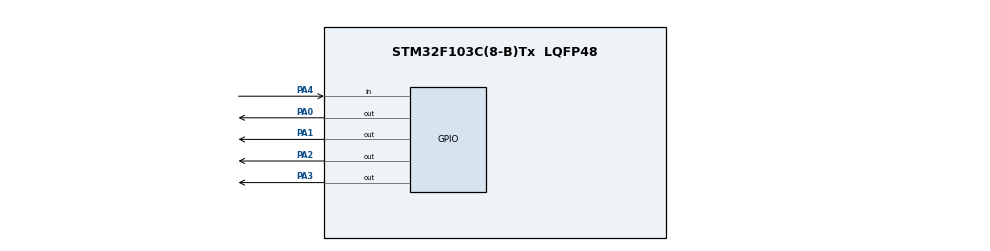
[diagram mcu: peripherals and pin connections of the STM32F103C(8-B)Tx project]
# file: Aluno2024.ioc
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Mcu.Family=STM32F1
Mcu.Name=STM32F103C(8-B)Tx
Mcu.Package=LQFP48
NVIC.PriorityGroup=NVIC_PRIORITYGROUP_4
PA0-WKUP.Signal=GPIO_Output
PA1.Signal=GPIO_Output
PA13.Mode=Serial_Wire
PA13.Signal=SYS_JTMS-SWDIO
PA14.Mode=Serial_Wire
PA14.Signal=SYS_JTCK-SWCLK
PA2.Signal=GPIO_Output
PA3.Signal=GPIO_Output
PA4.Signal=GPIO_Input
ProjectManager.HeapSize=0x200
ProjectManager.StackSize=0x400
ProjectManager.TargetToolchain=STM32CubeIDE
RCC.APB1Freq_Value=8000000
RCC.APB2Freq_Value=8000000
board=custom

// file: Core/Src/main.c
/* USER CODE BEGIN Header */
/**
  ******************************************************************************
  * @file           : main.c
  * @brief          : Main program body
  ******************************************************************************
  * @attention
  *
  * <h2><center>&copy; Copyright (c) 2024 STMicroelectronics.
  * All rights reserved.</center></h2>
  *
  * This software component is licensed by ST under BSD 3-Clause license,
  * the "License"; You may not use this file except in compliance with the
  * License. You may obtain a copy of the License at:
  *                        opensource.org/licenses/BSD-3-Clause
  *
  ******************************************************************************
  */
/* USER CODE END Header */
#include "main.h"

/* USER CODE BEGIN PD */
#define BUTTON_PIN GPIO_PIN_4
#define BUTTON_PORT GPIOA
#define LEDTODOS_ON  	HAL_GPIO_WritePin(GPIOA, GPIO_PIN_0+GPIO_PIN_1+GPIO_PIN_2+GPIO_PIN_3, 1)
#define LEDTODOS_OFF  	HAL_GPIO_WritePin(GPIOA, GPIO_PIN_0+GPIO_PIN_1+GPIO_PIN_2+GPIO_PIN_3, 0)
#define LEDPONTAS_ON 	HAL_GPIO_WritePin(GPIOA, GPIO_PIN_0 +GPIO_PIN_3, 1)
#define LEDPONTAS_OFF  	HAL_GPIO_WritePin(GPIOA, GPIO_PIN_0 +GPIO_PIN_3, 0)
#define LEDMEIO_ON  	HAL_GPIO_WritePin(GPIOA,GPIO_PIN_1 +GPIO_PIN_2, 1)
#define LEDMEIO_OFF 	HAL_GPIO_WritePin(GPIOA,GPIO_PIN_1 +GPIO_PIN_2, 0)
/* USER CODE END PD */

void SystemClock_Config(void);
static void MX_GPIO_Init(void);

int main(void)
{

  /* MCU Configuration--------------------------------------------------------*/

  /* Reset of all peripherals, Initializes the Flash interface and the Systick. */
  HAL_Init();

  /* Configure the system clock */
  SystemClock_Config();

  /* Initialize all configured peripherals */
  MX_GPIO_Init();

  /* Infinite loop */
  /* USER CODE BEGIN WHILE */
  while (1)
  {

	  	if(HAL_GPIO_ReadPin(BUTTON_PORT , BUTTON_PIN)){
	  		LEDTODOS_ON;
	  		HAL_Delay(1000);
	  		LEDTODOS_OFF;
	  		HAL_Delay(1000);
	  		for(uint16_t i=GPIO_PIN_0; i < GPIO_PIN_4; i = i << 1){
	  			LEDPONTAS_ON;
	  		    HAL_Delay(100);
	  		    LEDPONTAS_OFF;
	  		    LEDMEIO_ON;
	  		    HAL_Delay(100);
	  		    LEDMEIO_OFF;
	  		    HAL_GPIO_WritePin(GPIOA,i, 1);
	  		    HAL_Delay(100);
	  		    HAL_GPIO_WritePin(GPIOA,i , 0);
	  		    HAL_GPIO_WritePin(GPIOA,i, 1);
	  		    HAL_Delay(100);
	  		    HAL_GPIO_WritePin(GPIOA,i , 0);
	  		    HAL_GPIO_WritePin(GPIOA,i, 1);
	  		    HAL_Delay(100);
	  		    HAL_GPIO_WritePin(GPIOA,i , 0);
	  		    HAL_GPIO_WritePin(GPIOA,i, 1);
	  		}
	  		HAL_Delay(100);
	  		for(uint16_t i=GPIO_PIN_3; i < GPIO_PIN_0; i = i << 1){
	  			  		    HAL_GPIO_WritePin(GPIOA,i, 1);
	  			  		    HAL_Delay(100);
	  			  		    HAL_GPIO_WritePin(GPIOA,i , 0);
	  			  		    HAL_GPIO_WritePin(GPIOA,i, 1);
	  			  		    HAL_Delay(100);
	  			  		    HAL_GPIO_WritePin(GPIOA,i , 0);
	  			  		    HAL_GPIO_WritePin(GPIOA,i, 1);
	  			  		    HAL_Delay(100);
	  			  		    HAL_GPIO_WritePin(GPIOA,i , 0);
	  			  		    HAL_GPIO_WritePin(GPIOA,i, 1);

	  			  		}
	  	}

    /* USER CODE END WHILE */

  }
}

void SystemClock_Config(void)
{
  RCC_OscInitTypeDef RCC_OscInitStruct = {0};
  RCC_ClkInitTypeDef RCC_ClkInitStruct = {0};

  /** Initializes the RCC Oscillators according to the specified parameters
  * in the RCC_OscInitTypeDef structure.
  */
  RCC_OscInitStruct.OscillatorType = RCC_OSCILLATORTYPE_HSI;
  RCC_OscInitStruct.HSIState = RCC_HSI_ON;
  RCC_OscInitStruct.HSICalibrationValue = RCC_HSICALIBRATION_DEFAULT;
  RCC_OscInitStruct.PLL.PLLState = RCC_PLL_NONE;
  if (HAL_RCC_OscConfig(&RCC_OscInitStruct) != HAL_OK)
  {
    Error_Handler();
  }
  /** Initializes the CPU, AHB and APB buses clocks
  */
  RCC_ClkInitStruct.ClockType = RCC_CLOCKTYPE_HCLK|RCC_CLOCKTYPE_SYSCLK
                              |RCC_CLOCKTYPE_PCLK1|RCC_CLOCKTYPE_PCLK2;
  RCC_ClkInitStruct.SYSCLKSource = RCC_SYSCLKSOURCE_HSI;
  RCC_ClkInitStruct.AHBCLKDivider = RCC_SYSCLK_DIV1;
  RCC_ClkInitStruct.APB1CLKDivider = RCC_HCLK_DIV1;
  RCC_ClkInitStruct.APB2CLKDivider = RCC_HCLK_DIV1;

  if (HAL_RCC_ClockConfig(&RCC_ClkInitStruct, FLASH_LATENCY_0) != HAL_OK)
  {
    Error_Handler();
  }
}

static void MX_GPIO_Init(void)
{
  GPIO_InitTypeDef GPIO_InitStruct = {0};

  /* GPIO Ports Clock Enable */
  __HAL_RCC_GPIOA_CLK_ENABLE();

  /*Configure GPIO pin Output Level */
  HAL_GPIO_WritePin(GPIOA, GPIO_PIN_0|GPIO_PIN_1|GPIO_PIN_2|GPIO_PIN_3, GPIO_PIN_RESET);

  /*Configure GPIO pins : PA0 PA1 PA2 PA3 */
  GPIO_InitStruct.Pin = GPIO_PIN_0|GPIO_PIN_1|GPIO_PIN_2|GPIO_PIN_3;
  GPIO_InitStruct.Mode = GPIO_MODE_OUTPUT_PP;
  GPIO_InitStruct.Pull = GPIO_NOPULL;
  GPIO_InitStruct.Speed = GPIO_SPEED_FREQ_LOW;
  HAL_GPIO_Init(GPIOA, &GPIO_InitStruct);

  /*Configure GPIO pin : PA4 */
  GPIO_InitStruct.Pin = GPIO_PIN_4;
  GPIO_InitStruct.Mode = GPIO_MODE_INPUT;
  GPIO_InitStruct.Pull = GPIO_NOPULL;
  HAL_GPIO_Init(GPIOA, &GPIO_InitStruct);

}

void Error_Handler(void)
{
  __disable_irq();
  while (1)
  {
  }
}

/************************ (C) COPYRIGHT STMicroelectronics *****END OF FILE****/
